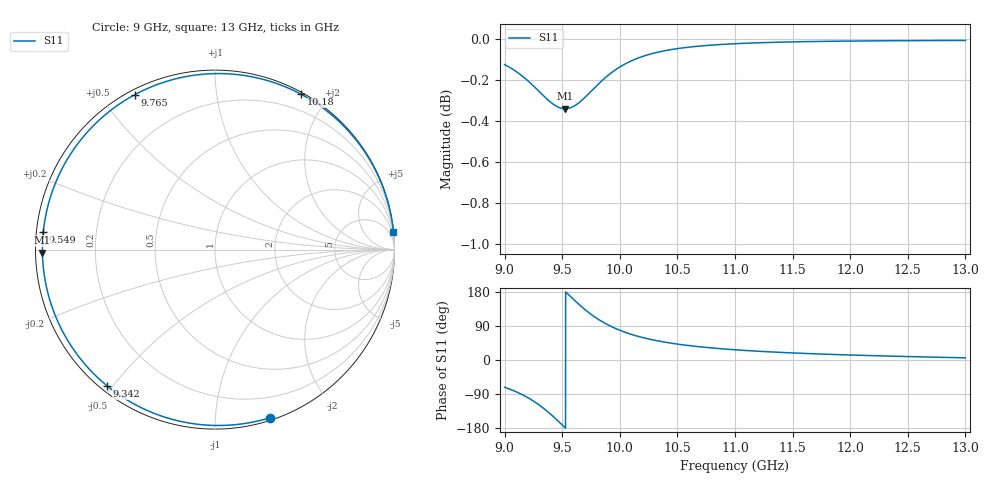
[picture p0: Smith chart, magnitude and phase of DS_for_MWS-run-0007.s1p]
! TOUCHSTONE file generated by CST DESIGN STUDIO
! Date and time: Tue Feb  4 13:45:16 2025
! Project name: C:\Work\MatlabApps\UnitCellOptimizationMatlab\CST\unitcell.cst
! Tree item: Tasks\Sweep1\SPara1\S-Parameters
! Header version: 2024
! Port assignment regex: !\s*Touchstone port\s*([0-9]+)\s*=\s*(CST MWS port|CST DES external port|CST DES block port)\s*(.+)\s* \(\"(.*)\"\)(\s*mode\s*([0-9]+))?.*
! Touchstone port assignment:
! Touchstone port 1 = CST DES external port 1 ("")
# GHz S MA R 50
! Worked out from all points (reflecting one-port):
!   4001 points, 9 GHz to 13 GHz, reference 50 ohm
!   lowest |S11| = -0.3 dB at 9.526 GHz (marker M1), VSWR 51.10, Z = 0.978 - j0.427 ohm
!   phase of S11 starts at -72 deg and turns -282 deg over the sweep
!   S11 on the Smith chart (normalised r, x): 9 GHz: 0.02, -1.38; 9.342 GHz: 0.02, -0.48; 9.549 GHz: 0.02, +0.05; 9.765 GHz: 0.02, +0.61; 10.18 GHz: 0.02, +1.70; 13 GHz: 0, +20
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9  0.9857 -71.9
9.094  0.9821 -83.0
9.2  0.9769 -99.1
9.274  0.9725 -113.2
9.342  0.9684 -128.4
9.385  0.9659 -139.2
9.43  0.9637 -151.3
9.5  0.9618 -171.4
9.526  0.9616 -179.0
9.549  0.9617 174.2
9.603  0.963 158.5
9.663  0.9658 141.9
9.714  0.9687 129.0
9.765  0.972 117.3
9.814  0.975 107.2
9.868  0.9781 97.4
9.934  0.9815 87.1
10  0.9843 78.4
10.084  0.9872 69.2
10.175  0.9897 61.1
10.323  0.9924 50.9
10.5  0.9945 42.0
10.721  0.9961 34.0
11  0.9972 26.9
11.5  0.9983 18.6
12  0.9987 13.2
12.5  0.999 9.1
13  0.9991 5.7
